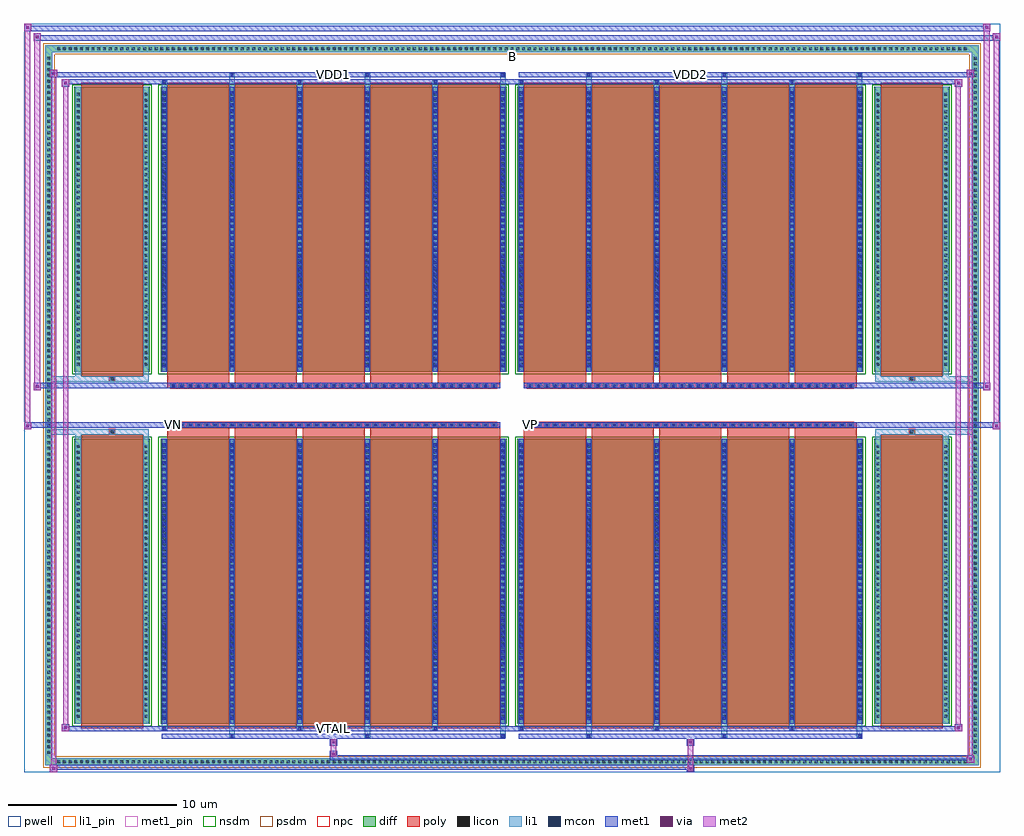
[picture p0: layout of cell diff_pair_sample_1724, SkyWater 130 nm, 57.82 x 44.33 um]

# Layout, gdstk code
import gdstk
lib = gdstk.Library(unit=1e-6, precision=5e-09)
def R(c, l, rs):  # rectangles x0, y0, x1, y1
    for r in rs: c.add(gdstk.rectangle(r[:2], r[2:], *l))
def A(c, l, x, y, w, h, nx, ny, dx, dy):  # array of equal rectangles
    R(c, l, [(x+i*dx, y+j*dy, x+i*dx+w, y+j*dy+h) for i in range(nx) for j in range(ny)])
def P(c, l, *ps):  # polygons
    for p in ps: c.add(gdstk.Polygon(p, *l))
pwell = (64, 44)
diff = (65, 20)
poly = (66, 20)
licon = (66, 44)
li1_pin = (67, 16)
li1 = (67, 20)
mcon = (67, 44)
met1_pin = (68, 16)
met1 = (68, 20)
via = (68, 44)
met2 = (69, 20)
nsdm = (93, 44)
psdm = (94, 20)
npc = (95, 20)

diff_pair_sample_1724 = lib.new_cell('diff_pair_sample_1724')
R(diff_pair_sample_1724, pwell, [(-28.91,-21.73,28.91,22.6), (-26.23,-19.92,-0.01,-0.8), (0.01,-19.92,26.23,-0.8), (-26.23,0.8,-0.01,19.92), (0.01,0.8,26.23,19.92)])
A(diff_pair_sample_1724, diff, -27.065, -21.33, 0.41, 0.41, 159, 2, 0.34, 42.25)
A(diff_pair_sample_1724, diff, -27.64, -20.775, 0.41, 0.41, 1, 122, 0, 0.34)
A(diff_pair_sample_1724, diff, 27.23, -20.775, 0.41, 0.41, 1, 122, 0, 0.34)
R(diff_pair_sample_1724, diff, [(-27.065,-21.33,27.065,-20.92), (-27.64,-20.775,-27.23,20.775), (27.23,-20.775,27.64,20.775), (-25.92,-18.875,-21.46,-1.985), (-20.82,-18.875,-0.32,-1.985), (0.32,-18.875,20.82,-1.985), (21.46,-18.875,25.92,-1.985), (-25.92,1.985,-21.46,18.875), (-20.82,1.985,-0.32,18.875), (0.32,1.985,20.82,18.875), (21.46,1.985,25.92,18.875), (-27.065,20.92,27.065,21.33)])
P(diff_pair_sample_1724, diff, [(27.64,21.33),(-27.64,21.33),(-27.64,-20.92),(-27.23,-20.92),(-27.23,20.92),(27.23,20.92),(27.23,-20.92),(-27.23,-20.92),(-27.64,-20.92),(-27.64,-21.33),(27.64,-21.33)])
A(diff_pair_sample_1724, poly, -20.43, -19.125, 3.68, 17.39, 5, 2, 4.01, 20.86)
A(diff_pair_sample_1724, poly, 0.71, -19.125, 3.68, 17.39, 5, 2, 4.01, 20.86)
A(diff_pair_sample_1724, poly, -20.43, -1.735, 3.68, 0.405, 5, 2, 4.01, 3.065)
A(diff_pair_sample_1724, poly, 0.71, -1.735, 3.68, 0.405, 5, 2, 4.01, 3.065)
A(diff_pair_sample_1724, poly, -20.235, -1.33, 0.33, 0.33, 39, 2, 0.5, 2.33)
A(diff_pair_sample_1724, poly, 0.905, -1.33, 0.33, 0.33, 39, 2, 0.5, 2.33)
R(diff_pair_sample_1724, poly, [(-25.53,-19.125,-21.85,-1.735), (21.85,-19.125,25.53,-1.735), (-23.855,-1.735,-23.525,-1.405), (-23.855,-1.735,-23.525,-1.405), (23.525,-1.735,23.855,-1.405), (23.525,-1.735,23.855,-1.405), (-20.43,-1.33,-0.71,-1), (0.71,-1.33,20.43,-1), (-20.43,1,-0.71,1.33), (0.71,1,20.43,1.33), (-23.855,1.405,-23.525,1.735), (-23.855,1.405,-23.525,1.735), (23.525,1.405,23.855,1.735), (23.525,1.405,23.855,1.735), (-25.53,1.735,-21.85,19.125), (21.85,1.735,25.53,19.125)])
A(diff_pair_sample_1724, licon, -26.945, -21.21, 0.17, 0.17, 159, 2, 0.34, 42.25)
A(diff_pair_sample_1724, licon, -27.52, -20.655, 0.17, 0.17, 1, 122, 0, 0.34)
A(diff_pair_sample_1724, licon, 27.35, -20.655, 0.17, 0.17, 1, 122, 0, 0.34)
A(diff_pair_sample_1724, licon, -25.78, -18.505, 0.17, 0.17, 1, 48, 0, 0.34)
A(diff_pair_sample_1724, licon, -21.77, -18.505, 0.17, 0.17, 1, 48, 0, 0.34)
A(diff_pair_sample_1724, licon, -20.68, -18.505, 0.17, 0.17, 6, 48, 4.01, 0.34)
A(diff_pair_sample_1724, licon, 0.46, -18.505, 0.17, 0.17, 6, 48, 4.01, 0.34)
A(diff_pair_sample_1724, licon, 21.6, -18.505, 0.17, 0.17, 1, 48, 0, 0.34)
A(diff_pair_sample_1724, licon, 25.61, -18.505, 0.17, 0.17, 1, 48, 0, 0.34)
A(diff_pair_sample_1724, licon, -20.155, -1.25, 0.17, 0.17, 39, 2, 0.5, 2.33)
A(diff_pair_sample_1724, licon, 0.985, -1.25, 0.17, 0.17, 39, 2, 0.5, 2.33)
A(diff_pair_sample_1724, licon, -25.78, 2.355, 0.17, 0.17, 1, 48, 0, 0.34)
A(diff_pair_sample_1724, licon, -21.77, 2.355, 0.17, 0.17, 1, 48, 0, 0.34)
A(diff_pair_sample_1724, licon, -20.68, 2.355, 0.17, 0.17, 6, 48, 4.01, 0.34)
A(diff_pair_sample_1724, licon, 0.46, 2.355, 0.17, 0.17, 6, 48, 4.01, 0.34)
A(diff_pair_sample_1724, licon, 21.6, 2.355, 0.17, 0.17, 1, 48, 0, 0.34)
A(diff_pair_sample_1724, licon, 25.61, 2.355, 0.17, 0.17, 1, 48, 0, 0.34)
R(diff_pair_sample_1724, licon, [(-23.775,-1.655,-23.605,-1.485), (23.605,-1.655,23.775,-1.485), (-23.775,1.485,-23.605,1.655), (23.605,1.485,23.775,1.655)])
R(diff_pair_sample_1724, li1_pin, [(-0.25,20.42,0.25,20.92)])
A(diff_pair_sample_1724, li1, -27.025, -21.29, 0.33, 0.33, 159, 2, 0.34, 42.25)
A(diff_pair_sample_1724, li1, -27.6, -20.735, 0.33, 0.33, 1, 122, 0, 0.34)
A(diff_pair_sample_1724, li1, 27.27, -20.735, 0.33, 0.33, 1, 122, 0, 0.34)
A(diff_pair_sample_1724, li1, -16.75, -19.68, 0.33, 0.805, 3, 2, 8.02, 38.555)
A(diff_pair_sample_1724, li1, -16.67, -19.68, 0.17, 0.17, 3, 2, 8.02, 39.19)
A(diff_pair_sample_1724, li1, 4.39, -19.68, 0.33, 0.805, 3, 2, 8.02, 38.555)
A(diff_pair_sample_1724, li1, 4.47, -19.68, 0.17, 0.17, 3, 2, 8.02, 39.19)
A(diff_pair_sample_1724, li1, -20.76, -19.25, 0.33, 0.375, 3, 2, 8.02, 38.125)
A(diff_pair_sample_1724, li1, -20.68, -19.25, 0.17, 0.17, 3, 2, 8.02, 38.33)
A(diff_pair_sample_1724, li1, 0.38, -19.25, 0.33, 0.375, 3, 2, 8.02, 38.125)
A(diff_pair_sample_1724, li1, 0.46, -19.25, 0.17, 0.17, 3, 2, 8.02, 38.33)
A(diff_pair_sample_1724, li1, -20.76, -18.875, 0.33, 16.89, 6, 2, 4.01, 20.86)
A(diff_pair_sample_1724, li1, 0.38, -18.875, 0.33, 16.89, 6, 2, 4.01, 20.86)
A(diff_pair_sample_1724, li1, -20.68, -18.615, 0.17, 0.17, 6, 46, 4.01, 0.36)
A(diff_pair_sample_1724, li1, -20.68, -18.615, 0.17, 16.37, 6, 2, 4.01, 20.86)
A(diff_pair_sample_1724, li1, 0.46, -18.615, 0.17, 0.17, 6, 46, 4.01, 0.36)
A(diff_pair_sample_1724, li1, 0.46, -18.615, 0.17, 16.37, 6, 2, 4.01, 20.86)
A(diff_pair_sample_1724, li1, -25.86, -18.585, 0.33, 0.33, 1, 48, 0, 0.34)
A(diff_pair_sample_1724, li1, -21.85, -18.585, 0.33, 0.33, 1, 48, 0, 0.34)
A(diff_pair_sample_1724, li1, -20.76, -18.585, 0.33, 0.33, 6, 48, 4.01, 0.34)
A(diff_pair_sample_1724, li1, 0.38, -18.585, 0.33, 0.33, 6, 48, 4.01, 0.34)
A(diff_pair_sample_1724, li1, 21.52, -18.585, 0.33, 0.33, 1, 48, 0, 0.34)
A(diff_pair_sample_1724, li1, 25.53, -18.585, 0.33, 0.33, 1, 48, 0, 0.34)
A(diff_pair_sample_1724, li1, -20.235, -1.33, 0.33, 0.33, 39, 2, 0.5, 2.33)
A(diff_pair_sample_1724, li1, 0.905, -1.33, 0.33, 0.33, 39, 2, 0.5, 2.33)
A(diff_pair_sample_1724, li1, -20.68, 2.245, 0.17, 0.17, 6, 46, 4.01, 0.36)
A(diff_pair_sample_1724, li1, 0.46, 2.245, 0.17, 0.17, 6, 46, 4.01, 0.36)
A(diff_pair_sample_1724, li1, -25.86, 2.275, 0.33, 0.33, 1, 48, 0, 0.34)
A(diff_pair_sample_1724, li1, -21.85, 2.275, 0.33, 0.33, 1, 48, 0, 0.34)
A(diff_pair_sample_1724, li1, -20.76, 2.275, 0.33, 0.33, 6, 48, 4.01, 0.34)
A(diff_pair_sample_1724, li1, 0.38, 2.275, 0.33, 0.33, 6, 48, 4.01, 0.34)
A(diff_pair_sample_1724, li1, 21.52, 2.275, 0.33, 0.33, 1, 48, 0, 0.34)
A(diff_pair_sample_1724, li1, 25.53, 2.275, 0.33, 0.33, 1, 48, 0, 0.34)
R(diff_pair_sample_1724, li1, [(-27.64,-21.33,-27.23,-20.92), (-27.64,-21.33,-27.23,-20.92), (-27.23,-21.33,27.23,-20.92), (27.23,-21.33,27.64,-20.92), (27.23,-21.33,27.64,-20.92), (-27.64,-20.92,-27.23,20.92), (27.23,-20.92,27.64,20.92), (-25.86,-18.875,-25.53,-1.985), (-21.85,-18.875,-21.52,-1.985), (21.52,-18.875,21.85,-1.985), (25.53,-18.875,25.86,-1.985), (-25.86,-1.985,-25.53,-1.405), (-21.85,-1.985,-21.52,-1.405), (21.52,-1.985,21.85,-1.405), (25.53,-1.985,25.86,-1.405), (-27.64,-1.735,-23.855,-1.405), (-25.86,-1.735,-23.855,-1.405), (-23.855,-1.735,-23.525,-1.405), (-23.525,-1.735,-21.52,-1.405), (21.52,-1.735,23.525,-1.405), (23.525,-1.735,23.855,-1.405), (23.525,-1.735,27.64,-1.405), (23.855,-1.735,25.86,-1.405), (-27.64,1.405,-23.855,1.735), (-25.86,1.405,-23.855,1.735), (-25.86,1.405,-25.53,1.985), (-23.855,1.405,-23.525,1.735), (-23.525,1.405,-21.52,1.735), (-21.85,1.405,-21.52,1.985), (21.52,1.405,23.525,1.735), (21.52,1.405,21.85,1.985), (23.525,1.405,23.855,1.735), (23.525,1.405,27.64,1.735), (23.855,1.405,25.86,1.735), (25.53,1.405,25.86,1.985), (-25.86,1.985,-25.53,18.875), (-21.85,1.985,-21.52,18.875), (21.52,1.985,21.85,18.875), (25.53,1.985,25.86,18.875), (-27.64,20.92,-27.23,21.33), (-27.64,20.92,-27.23,21.33), (-27.23,20.92,27.23,21.33), (27.23,20.92,27.64,21.33), (27.23,20.92,27.64,21.33)])
A(diff_pair_sample_1724, mcon, -16.67, -19.68, 0.17, 0.17, 3, 2, 8.02, 39.19)
A(diff_pair_sample_1724, mcon, 4.47, -19.68, 0.17, 0.17, 3, 2, 8.02, 39.19)
A(diff_pair_sample_1724, mcon, -20.68, -19.25, 0.17, 0.17, 3, 2, 8.02, 38.33)
A(diff_pair_sample_1724, mcon, 0.46, -19.25, 0.17, 0.17, 3, 2, 8.02, 38.33)
A(diff_pair_sample_1724, mcon, -20.68, -18.615, 0.17, 0.17, 6, 46, 4.01, 0.36)
A(diff_pair_sample_1724, mcon, 0.46, -18.615, 0.17, 0.17, 6, 46, 4.01, 0.36)
A(diff_pair_sample_1724, mcon, -20.155, -1.25, 0.17, 0.17, 39, 2, 0.5, 2.33)
A(diff_pair_sample_1724, mcon, 0.985, -1.25, 0.17, 0.17, 39, 2, 0.5, 2.33)
A(diff_pair_sample_1724, mcon, -20.68, 2.245, 0.17, 0.17, 6, 46, 4.01, 0.36)
A(diff_pair_sample_1724, mcon, 0.46, 2.245, 0.17, 0.17, 6, 46, 4.01, 0.36)
R(diff_pair_sample_1724, met1_pin, [(-10.705,-19.29,-10.435,-19.02), (-20.205,-1.29,-19.935,-1.02), (0.935,-1.29,1.205,-1.02), (-10.705,19.47,-10.435,19.74), (10.435,19.47,10.705,19.74)])
A(diff_pair_sample_1724, met1, -16.73, -19.74, 0.29, 0.29, 3, 2, 8.02, 39.19)
A(diff_pair_sample_1724, met1, 4.41, -19.74, 0.29, 0.29, 3, 2, 8.02, 39.19)
A(diff_pair_sample_1724, met1, -20.74, -19.31, 0.29, 0.29, 3, 2, 8.02, 38.33)
A(diff_pair_sample_1724, met1, 0.4, -19.31, 0.29, 0.29, 3, 2, 8.02, 38.33)
A(diff_pair_sample_1724, met1, -20.74, -18.875, 0.29, 16.89, 6, 2, 4.01, 20.86)
A(diff_pair_sample_1724, met1, 0.4, -18.875, 0.29, 16.89, 6, 2, 4.01, 20.86)
A(diff_pair_sample_1724, met1, -20.74, -18.675, 0.29, 0.29, 6, 46, 4.01, 0.36)
A(diff_pair_sample_1724, met1, 0.4, -18.675, 0.29, 0.29, 6, 46, 4.01, 0.36)
A(diff_pair_sample_1724, met1, -20.215, -1.31, 0.29, 0.29, 39, 2, 0.5, 2.33)
A(diff_pair_sample_1724, met1, 0.925, -1.31, 0.29, 0.29, 39, 2, 0.5, 2.33)
A(diff_pair_sample_1724, met1, -20.74, 2.185, 0.29, 0.29, 6, 46, 4.01, 0.36)
A(diff_pair_sample_1724, met1, 0.4, 2.185, 0.29, 0.29, 6, 46, 4.01, 0.36)
R(diff_pair_sample_1724, met1, [(-27.37,-21.73,-26.94,-21.3), (10.355,-21.73,10.785,-21.3), (-27.37,-21.59,10.785,-21.3), (26.94,-21.16,27.37,-20.73), (-10.785,-21.02,27.37,-20.73), (-10.785,-20.88,-10.355,-20.45), (-10.785,-20.17,-10.355,-19.74), (10.355,-20.17,10.785,-19.74), (-20.74,-19.74,-0.4,-19.45), (0.4,-19.74,20.74,-19.45), (-26.66,-19.31,-26.23,-18.88), (-26.66,-19.31,-20.74,-19.02), (-20.74,-19.31,-0.4,-19.02), (-0.4,-19.31,0.4,-19.02), (0.4,-19.31,20.74,-19.02), (20.74,-19.31,26.66,-19.02), (26.23,-19.31,26.66,-18.88), (-28.91,-1.43,-28.48,-1), (28.48,-1.43,28.91,-1), (-28.91,-1.33,-0.71,-1), (-20.43,-1.33,-0.71,-1), (0.71,-1.33,20.43,-1), (0.71,-1.33,28.91,-1), (-28.34,0.9,-27.91,1.33), (27.91,0.9,28.34,1.33), (-28.34,1,-20.43,1.33), (-20.43,1,-0.71,1.33), (0.71,1,20.43,1.33), (20.43,1,28.34,1.33), (-26.66,18.88,-26.23,19.31), (26.23,18.88,26.66,19.31), (-26.66,19.02,-20.74,19.31), (-20.74,19.02,-0.4,19.31), (-0.4,19.02,0.4,19.31), (0.4,19.02,20.74,19.31), (20.74,19.02,26.66,19.31), (-27.37,19.45,-26.94,19.88), (-27.37,19.45,-20.74,19.74), (-20.74,19.45,-0.4,19.74), (0.4,19.45,20.74,19.74), (20.74,19.45,27.37,19.74), (26.94,19.45,27.37,19.88), (-28.34,21.6,-27.91,22.03), (-28.34,21.6,-26.23,21.93), (-26.23,21.6,26.23,21.93), (26.23,21.6,28.91,21.93), (28.48,21.6,28.91,22.03), (-28.91,22.17,-28.48,22.6), (-28.91,22.17,-26.23,22.5), (-26.23,22.17,26.23,22.5), (26.23,22.17,28.34,22.5), (27.91,22.17,28.34,22.6)])
R(diff_pair_sample_1724, via, [(-27.23,-21.59,-27.08,-21.44), (10.495,-21.59,10.645,-21.44), (27.08,-21.02,27.23,-20.87), (-10.645,-20.74,-10.495,-20.59), (-10.645,-20.03,-10.495,-19.88), (10.495,-20.03,10.645,-19.88), (-26.52,-19.17,-26.37,-19.02), (26.37,-19.17,26.52,-19.02), (-28.77,-1.29,-28.62,-1.14), (28.62,-1.29,28.77,-1.14), (-28.2,1.04,-28.05,1.19), (28.05,1.04,28.2,1.19), (-26.52,19.02,-26.37,19.17), (26.37,19.02,26.52,19.17), (-27.23,19.59,-27.08,19.74), (27.08,19.59,27.23,19.74), (-28.2,21.74,-28.05,21.89), (28.62,21.74,28.77,21.89), (-28.77,22.31,-28.62,22.46), (28.05,22.31,28.2,22.46)])
R(diff_pair_sample_1724, met2, [(-27.37,-21.73,-26.94,-21.3), (-27.3,-21.73,-27.01,19.88), (-27.01,-21.73,-26.94,-21.3), (-27.32,-21.68,-26.99,-21.35), (10.405,-21.68,10.735,-21.35), (10.405,-21.35,10.735,-20.12), (26.94,-21.16,27.37,-20.73), (27.01,-21.16,27.3,19.88), (27.3,-21.16,27.37,-20.73), (26.99,-21.11,27.32,-20.78), (-10.735,-20.83,-10.405,-20.5), (-10.735,-20.5,-10.405,-20.12), (-10.735,-20.12,-10.405,-19.79), (10.405,-20.12,10.735,-19.79), (-26.66,-19.31,-26.23,-18.88), (-26.59,-19.31,-26.3,19.31), (-26.3,-19.31,-26.23,-18.88), (26.23,-19.31,26.66,-18.88), (26.3,-19.31,26.59,19.31), (26.59,-19.31,26.66,-18.88), (-26.61,-19.26,-26.28,-18.93), (26.28,-19.26,26.61,-18.93), (-28.91,-1.43,-28.48,-1), (-28.86,-1.43,-28.53,22.6), (-28.53,-1.43,-28.48,-1), (28.48,-1.43,28.91,-1), (28.53,-1.43,28.86,22.03), (28.86,-1.43,28.91,-1), (-28.86,-1.38,-28.53,-1.05), (28.53,-1.38,28.86,-1.05), (-28.34,0.9,-27.91,1.33), (-28.29,0.9,-27.96,22.03), (-27.96,0.9,-27.91,1.33), (27.91,0.9,28.34,1.33), (27.96,0.9,28.29,22.6), (28.29,0.9,28.34,1.33), (-28.29,0.95,-27.96,1.28), (27.96,0.95,28.29,1.28), (-26.66,18.88,-26.23,19.31), (-26.3,18.88,-26.23,19.31), (26.23,18.88,26.66,19.31), (26.59,18.88,26.66,19.31), (-26.61,18.93,-26.28,19.26), (26.28,18.93,26.61,19.26), (-27.37,19.45,-26.94,19.88), (-27.01,19.45,-26.94,19.88), (26.94,19.45,27.37,19.88), (27.3,19.45,27.37,19.88), (-27.32,19.5,-26.99,19.83), (26.99,19.5,27.32,19.83), (-28.34,21.6,-27.91,22.03), (-27.96,21.6,-27.91,22.03), (28.48,21.6,28.91,22.03), (28.86,21.6,28.91,22.03), (-28.29,21.65,-27.96,21.98), (28.53,21.65,28.86,21.98), (-28.91,22.17,-28.48,22.6), (-28.53,22.17,-28.48,22.6), (27.91,22.17,28.34,22.6), (28.29,22.17,28.34,22.6), (-28.86,22.22,-28.53,22.55), (27.96,22.22,28.29,22.55)])
R(diff_pair_sample_1724, nsdm, [(-26.05,-19.005,-21.33,-1.855), (-20.95,-19.005,-0.19,-1.855), (0.19,-19.005,20.95,-1.855), (21.33,-19.005,26.05,-1.855), (-26.05,1.855,-21.33,19.005), (-20.95,1.855,-0.19,19.005), (0.19,1.855,20.95,19.005), (21.33,1.855,26.05,19.005)])
P(diff_pair_sample_1724, psdm, [(27.77,21.46),(-27.77,21.46),(-27.77,-20.79),(-27.1,-20.79),(-27.1,20.79),(27.1,20.79),(27.1,-20.79),(-27.1,-20.79),(-27.77,-20.79),(-27.77,-21.46),(27.77,-21.46)])
A(diff_pair_sample_1724, npc, -20.255, -1.35, 0.37, 0.37, 39, 2, 0.5, 2.33)
A(diff_pair_sample_1724, npc, 0.885, -1.35, 0.37, 0.37, 39, 2, 0.5, 2.33)
R(diff_pair_sample_1724, npc, [(-23.875,-1.755,-23.505,-1.385), (23.505,-1.755,23.875,-1.385), (-20.255,-1.35,-19.385,-0.98), (-20.255,-1.35,-19.385,-0.98), (-19.755,-1.35,-18.885,-0.98), (-19.755,-1.35,-18.885,-0.98), (-19.255,-1.35,-18.385,-0.98), (-19.255,-1.35,-18.385,-0.98), (-18.755,-1.35,-17.885,-0.98), (-18.755,-1.35,-17.885,-0.98), (-18.255,-1.35,-17.385,-0.98), (-18.255,-1.35,-17.385,-0.98), (-17.755,-1.35,-16.885,-0.98), (-17.755,-1.35,-16.885,-0.98), (-17.255,-1.35,-16.385,-0.98), (-17.255,-1.35,-16.385,-0.98), (-16.755,-1.35,-15.885,-0.98), (-16.755,-1.35,-15.885,-0.98), (-16.255,-1.35,-15.385,-0.98), (-16.255,-1.35,-15.385,-0.98), (-15.755,-1.35,-14.885,-0.98), (-15.755,-1.35,-14.885,-0.98), (-15.255,-1.35,-14.385,-0.98), (-15.255,-1.35,-14.385,-0.98), (-14.755,-1.35,-13.885,-0.98), (-14.755,-1.35,-13.885,-0.98), (-14.255,-1.35,-13.385,-0.98), (-14.255,-1.35,-13.385,-0.98), (-13.755,-1.35,-12.885,-0.98), (-13.755,-1.35,-12.885,-0.98), (-13.255,-1.35,-12.385,-0.98), (-13.255,-1.35,-12.385,-0.98), (-12.755,-1.35,-11.885,-0.98), (-12.755,-1.35,-11.885,-0.98), (-12.255,-1.35,-11.385,-0.98), (-12.255,-1.35,-11.385,-0.98), (-11.755,-1.35,-10.885,-0.98), (-11.755,-1.35,-10.885,-0.98), (-11.255,-1.35,-10.385,-0.98), (-11.255,-1.35,-10.385,-0.98), (-10.755,-1.35,-9.885,-0.98), (-10.755,-1.35,-9.885,-0.98), (-10.255,-1.35,-9.385,-0.98), (-10.255,-1.35,-9.385,-0.98), (-9.755,-1.35,-8.885,-0.98), (-9.755,-1.35,-8.885,-0.98), (-9.255,-1.35,-8.385,-0.98), (-9.255,-1.35,-8.385,-0.98), (-8.755,-1.35,-7.885,-0.98), (-8.755,-1.35,-7.885,-0.98), (-8.255,-1.35,-7.385,-0.98), (-8.255,-1.35,-7.385,-0.98), (-7.755,-1.35,-6.885,-0.98), (-7.755,-1.35,-6.885,-0.98), (-7.255,-1.35,-6.385,-0.98), (-7.255,-1.35,-6.385,-0.98), (-6.755,-1.35,-5.885,-0.98), (-6.755,-1.35,-5.885,-0.98), (-6.255,-1.35,-5.385,-0.98), (-6.255,-1.35,-5.385,-0.98), (-5.755,-1.35,-4.885,-0.98), (-5.755,-1.35,-4.885,-0.98), (-5.255,-1.35,-4.385,-0.98), (-5.255,-1.35,-4.385,-0.98), (-4.755,-1.35,-3.885,-0.98), (-4.755,-1.35,-3.885,-0.98), (-4.255,-1.35,-3.385,-0.98), (-4.255,-1.35,-3.385,-0.98), (-3.755,-1.35,-2.885,-0.98), (-3.755,-1.35,-2.885,-0.98), (-3.255,-1.35,-2.385,-0.98), (-3.255,-1.35,-2.385,-0.98), (-2.755,-1.35,-1.885,-0.98), (-2.755,-1.35,-1.885,-0.98), (-2.255,-1.35,-1.385,-0.98), (-2.255,-1.35,-1.385,-0.98), (-1.755,-1.35,-0.885,-0.98), (-1.755,-1.35,-0.885,-0.98), (0.885,-1.35,1.755,-0.98), (0.885,-1.35,1.755,-0.98), (1.385,-1.35,2.255,-0.98), (1.385,-1.35,2.255,-0.98), (1.885,-1.35,2.755,-0.98), (1.885,-1.35,2.755,-0.98), (2.385,-1.35,3.255,-0.98), (2.385,-1.35,3.255,-0.98), (2.885,-1.35,3.755,-0.98), (2.885,-1.35,3.755,-0.98), (3.385,-1.35,4.255,-0.98), (3.385,-1.35,4.255,-0.98), (3.885,-1.35,4.755,-0.98), (3.885,-1.35,4.755,-0.98), (4.385,-1.35,5.255,-0.98), (4.385,-1.35,5.255,-0.98), (4.885,-1.35,5.755,-0.98), (4.885,-1.35,5.755,-0.98), (5.385,-1.35,6.255,-0.98), (5.385,-1.35,6.255,-0.98), (5.885,-1.35,6.755,-0.98), (5.885,-1.35,6.755,-0.98), (6.385,-1.35,7.255,-0.98), (6.385,-1.35,7.255,-0.98), (6.885,-1.35,7.755,-0.98), (6.885,-1.35,7.755,-0.98), (7.385,-1.35,8.255,-0.98), (7.385,-1.35,8.255,-0.98), (7.885,-1.35,8.755,-0.98), (7.885,-1.35,8.755,-0.98), (8.385,-1.35,9.255,-0.98), (8.385,-1.35,9.255,-0.98), (8.885,-1.35,9.755,-0.98), (8.885,-1.35,9.755,-0.98), (9.385,-1.35,10.255,-0.98), (9.385,-1.35,10.255,-0.98), (9.885,-1.35,10.755,-0.98), (9.885,-1.35,10.755,-0.98), (10.385,-1.35,11.255,-0.98), (10.385,-1.35,11.255,-0.98), (10.885,-1.35,11.755,-0.98), (10.885,-1.35,11.755,-0.98), (11.385,-1.35,12.255,-0.98), (11.385,-1.35,12.255,-0.98), (11.885,-1.35,12.755,-0.98), (11.885,-1.35,12.755,-0.98), (12.385,-1.35,13.255,-0.98), (12.385,-1.35,13.255,-0.98), (12.885,-1.35,13.755,-0.98), (12.885,-1.35,13.755,-0.98), (13.385,-1.35,14.255,-0.98), (13.385,-1.35,14.255,-0.98), (13.885,-1.35,14.755,-0.98), (13.885,-1.35,14.755,-0.98), (14.385,-1.35,15.255,-0.98), (14.385,-1.35,15.255,-0.98), (14.885,-1.35,15.755,-0.98), (14.885,-1.35,15.755,-0.98), (15.385,-1.35,16.255,-0.98), (15.385,-1.35,16.255,-0.98), (15.885,-1.35,16.755,-0.98), (15.885,-1.35,16.755,-0.98), (16.385,-1.35,17.255,-0.98), (16.385,-1.35,17.255,-0.98), (16.885,-1.35,17.755,-0.98), (16.885,-1.35,17.755,-0.98), (17.385,-1.35,18.255,-0.98), (17.385,-1.35,18.255,-0.98), (17.885,-1.35,18.755,-0.98), (17.885,-1.35,18.755,-0.98), (18.385,-1.35,19.255,-0.98), (18.385,-1.35,19.255,-0.98), (18.885,-1.35,19.755,-0.98), (18.885,-1.35,19.755,-0.98), (19.385,-1.35,20.255,-0.98), (19.385,-1.35,20.255,-0.98), (-20.255,0.98,-19.385,1.35), (-20.255,0.98,-19.385,1.35), (-19.755,0.98,-18.885,1.35), (-19.755,0.98,-18.885,1.35), (-19.255,0.98,-18.385,1.35), (-19.255,0.98,-18.385,1.35), (-18.755,0.98,-17.885,1.35), (-18.755,0.98,-17.885,1.35), (-18.255,0.98,-17.385,1.35), (-18.255,0.98,-17.385,1.35), (-17.755,0.98,-16.885,1.35), (-17.755,0.98,-16.885,1.35), (-17.255,0.98,-16.385,1.35), (-17.255,0.98,-16.385,1.35), (-16.755,0.98,-15.885,1.35), (-16.755,0.98,-15.885,1.35), (-16.255,0.98,-15.385,1.35), (-16.255,0.98,-15.385,1.35), (-15.755,0.98,-14.885,1.35), (-15.755,0.98,-14.885,1.35), (-15.255,0.98,-14.385,1.35), (-15.255,0.98,-14.385,1.35), (-14.755,0.98,-13.885,1.35), (-14.755,0.98,-13.885,1.35), (-14.255,0.98,-13.385,1.35), (-14.255,0.98,-13.385,1.35), (-13.755,0.98,-12.885,1.35), (-13.755,0.98,-12.885,1.35), (-13.255,0.98,-12.385,1.35), (-13.255,0.98,-12.385,1.35), (-12.755,0.98,-11.885,1.35), (-12.755,0.98,-11.885,1.35), (-12.255,0.98,-11.385,1.35), (-12.255,0.98,-11.385,1.35), (-11.755,0.98,-10.885,1.35), (-11.755,0.98,-10.885,1.35), (-11.255,0.98,-10.385,1.35), (-11.255,0.98,-10.385,1.35), (-10.755,0.98,-9.885,1.35), (-10.755,0.98,-9.885,1.35), (-10.255,0.98,-9.385,1.35), (-10.255,0.98,-9.385,1.35), (-9.755,0.98,-8.885,1.35), (-9.755,0.98,-8.885,1.35), (-9.255,0.98,-8.385,1.35), (-9.255,0.98,-8.385,1.35), (-8.755,0.98,-7.885,1.35), (-8.755,0.98,-7.885,1.35), (-8.255,0.98,-7.385,1.35), (-8.255,0.98,-7.385,1.35), (-7.755,0.98,-6.885,1.35), (-7.755,0.98,-6.885,1.35), (-7.255,0.98,-6.385,1.35), (-7.255,0.98,-6.385,1.35), (-6.755,0.98,-5.885,1.35), (-6.755,0.98,-5.885,1.35), (-6.255,0.98,-5.385,1.35), (-6.255,0.98,-5.385,1.35), (-5.755,0.98,-4.885,1.35), (-5.755,0.98,-4.885,1.35), (-5.255,0.98,-4.385,1.35), (-5.255,0.98,-4.385,1.35), (-4.755,0.98,-3.885,1.35), (-4.755,0.98,-3.885,1.35), (-4.255,0.98,-3.385,1.35), (-4.255,0.98,-3.385,1.35), (-3.755,0.98,-2.885,1.35), (-3.755,0.98,-2.885,1.35), (-3.255,0.98,-2.385,1.35), (-3.255,0.98,-2.385,1.35), (-2.755,0.98,-1.885,1.35), (-2.755,0.98,-1.885,1.35), (-2.255,0.98,-1.385,1.35), (-2.255,0.98,-1.385,1.35), (-1.755,0.98,-0.885,1.35), (-1.755,0.98,-0.885,1.35), (0.885,0.98,1.755,1.35), (0.885,0.98,1.755,1.35), (1.385,0.98,2.255,1.35), (1.385,0.98,2.255,1.35), (1.885,0.98,2.755,1.35), (1.885,0.98,2.755,1.35), (2.385,0.98,3.255,1.35), (2.385,0.98,3.255,1.35), (2.885,0.98,3.755,1.35), (2.885,0.98,3.755,1.35), (3.385,0.98,4.255,1.35), (3.385,0.98,4.255,1.35), (3.885,0.98,4.755,1.35), (3.885,0.98,4.755,1.35), (4.385,0.98,5.255,1.35), (4.385,0.98,5.255,1.35), (4.885,0.98,5.755,1.35), (4.885,0.98,5.755,1.35), (5.385,0.98,6.255,1.35), (5.385,0.98,6.255,1.35), (5.885,0.98,6.755,1.35), (5.885,0.98,6.755,1.35), (6.385,0.98,7.255,1.35), (6.385,0.98,7.255,1.35), (6.885,0.98,7.755,1.35), (6.885,0.98,7.755,1.35), (7.385,0.98,8.255,1.35), (7.385,0.98,8.255,1.35), (7.885,0.98,8.755,1.35), (7.885,0.98,8.755,1.35), (8.385,0.98,9.255,1.35), (8.385,0.98,9.255,1.35), (8.885,0.98,9.755,1.35), (8.885,0.98,9.755,1.35), (9.385,0.98,10.255,1.35), (9.385,0.98,10.255,1.35), (9.885,0.98,10.755,1.35), (9.885,0.98,10.755,1.35), (10.385,0.98,11.255,1.35), (10.385,0.98,11.255,1.35), (10.885,0.98,11.755,1.35), (10.885,0.98,11.755,1.35), (11.385,0.98,12.255,1.35), (11.385,0.98,12.255,1.35), (11.885,0.98,12.755,1.35), (11.885,0.98,12.755,1.35), (12.385,0.98,13.255,1.35), (12.385,0.98,13.255,1.35), (12.885,0.98,13.755,1.35), (12.885,0.98,13.755,1.35), (13.385,0.98,14.255,1.35), (13.385,0.98,14.255,1.35), (13.885,0.98,14.755,1.35), (13.885,0.98,14.755,1.35), (14.385,0.98,15.255,1.35), (14.385,0.98,15.255,1.35), (14.885,0.98,15.755,1.35), (14.885,0.98,15.755,1.35), (15.385,0.98,16.255,1.35), (15.385,0.98,16.255,1.35), (15.885,0.98,16.755,1.35), (15.885,0.98,16.755,1.35), (16.385,0.98,17.255,1.35), (16.385,0.98,17.255,1.35), (16.885,0.98,17.755,1.35), (16.885,0.98,17.755,1.35), (17.385,0.98,18.255,1.35), (17.385,0.98,18.255,1.35), (17.885,0.98,18.755,1.35), (17.885,0.98,18.755,1.35), (18.385,0.98,19.255,1.35), (18.385,0.98,19.255,1.35), (18.885,0.98,19.755,1.35), (18.885,0.98,19.755,1.35), (19.385,0.98,20.255,1.35), (19.385,0.98,20.255,1.35), (-23.875,1.385,-23.505,1.755), (23.505,1.385,23.875,1.755)])
diff_pair_sample_1724.add(gdstk.Label('VTAIL', (-10.57,-19.155), layer=68, texttype=5))
diff_pair_sample_1724.add(gdstk.Label('VN', (-20.07,-1.155), layer=68, texttype=5))
diff_pair_sample_1724.add(gdstk.Label('VP', (1.07,-1.155), layer=68, texttype=5))
diff_pair_sample_1724.add(gdstk.Label('B', (0,20.67), layer=67, texttype=5))
diff_pair_sample_1724.add(gdstk.Label('VDD2', (10.57,19.605), layer=68, texttype=5))
diff_pair_sample_1724.add(gdstk.Label('VDD1', (-10.57,19.605), layer=68, texttype=5))

lib.write_gds('diff_pair_sample_1724.gds')
